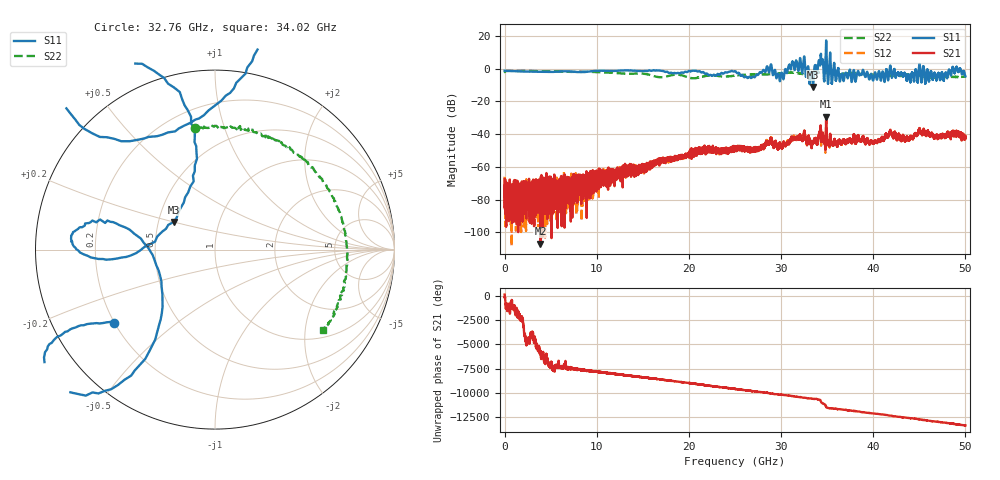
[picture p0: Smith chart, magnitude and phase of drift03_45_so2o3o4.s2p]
!Created with skrf (http://scikit-rf.org).
# Hz S RI R 50.0
!freq ReS11 ImS11 ReS21 ImS21 ReS12 ImS12 ReS22 ImS22
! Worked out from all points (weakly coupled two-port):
!   10001 points, 300 kHz to 50 GHz, reference 50 ohm
!   highest |S21| = -29.37 dB at 34.89 GHz (marker M1); lowest = -106.9 dB at 3.89 GHz (marker M2)
!   lowest |S11| = -11.2 dB at 33.47 GHz (marker M3), VSWR 1.76, Z = 30.1 + j10.1 ohm
!   |S11| at or under -10 dB: 33.44848 GHz to 33.48551 GHz (37.03 MHz wide, 0.111 % of centre)
!   |S22| runs from -5.9 to -1.3 dB; largest |S21 - S12| = 0.0087
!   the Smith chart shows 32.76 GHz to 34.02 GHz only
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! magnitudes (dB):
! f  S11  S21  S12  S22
! 300 kHz  -1.3  -67.6  -66.1  -2.0
! 255.3 MHz  -1.3  -71.2  -74.3  -1.4
! 780.3 MHz  -1.5  -74.4  -79.3  -1.5
! 3.89 GHz  -2.0  -106.9  -70.6  -1.6
! 8.335 GHz  -2.2  -70.2  -70.0  -1.9
! 16.67 GHz  -1.1  -57.0  -57.3  -5.2
! 25 GHz  -1.5  -48.9  -48.3  -4.3
! 26.92 GHz  -4.9  -48.7  -49.5  -3.6
! 28.73 GHz  -2.3  -44.6  -46.3  -3.5
! 30.06 GHz  -2.5  -48.1  -47.5  -2.8
! 31.87 GHz  -1.5  -42.0  -41.9  -2.9
! 33.34 GHz  -2.2  -47.3  -47.6  -2.9
! 33.47 GHz  -11.2  -44.2  -45.1  -2.8
! 34.3 GHz  7.6  -34.7  -34.9  -2.3
! 34.89 GHz  16.9  -29.4  -31.9  -2.4
! 36.58 GHz  -3.4  -45.6  -46.2  -3.6
! 40.15 GHz  -3.0  -44.5  -44.5  -3.8
! 41.67 GHz  -5.5  -40.9  -40.6  -3.6
! 43.84 GHz  -3.6  -43.6  -43.7  -3.9
! 45.2 GHz  -6.2  -39.2  -38.8  -4.4
! 49.21 GHz  -1.9  -38.4  -39.0  -5.2
! 50 GHz  -4.7  -41.8  -42.0  -5.0
